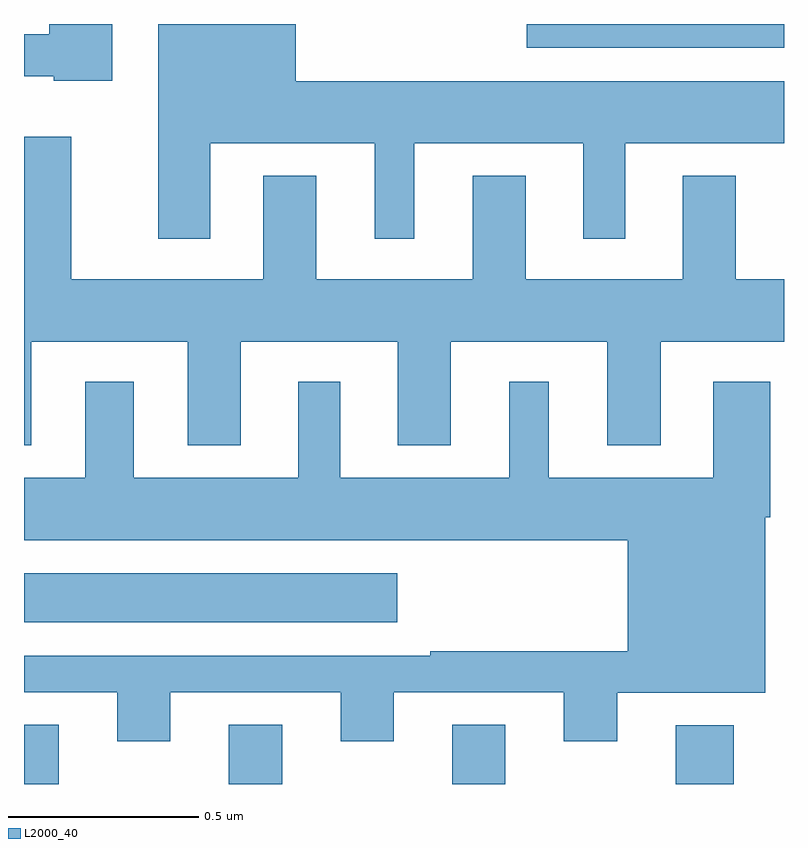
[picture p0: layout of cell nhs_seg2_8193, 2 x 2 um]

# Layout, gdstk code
import gdstk
lib = gdstk.Library(unit=1e-6, precision=1e-09)
def R(c, l, rs):  # rectangles x0, y0, x1, y1
    for r in rs: c.add(gdstk.rectangle(r[:2], r[2:], *l))
def P(c, l, *ps):  # polygons
    for p in ps: c.add(gdstk.Polygon(p, *l))
L2000_40 = (2000, 40)

nhs_seg2_8193 = lib.new_cell('nhs_seg2_8193')
R(nhs_seg2_8193, L2000_40, [(213,651.8,213.091,651.956), (213.539,651.8,213.679,651.956), (214.127,651.8,214.267,651.956), (214.715,651.8,214.868,651.955), (213,652.226,213.982,652.354), (214.323,653.738,215,653.8)])
P(nhs_seg2_8193, L2000_40, [(213.232,653.8),(213.067,653.8),(213.067,653.773),(213,653.773),(213,653.663),(213.078,653.663),(213.078,653.651),(213.232,653.651)],
  [(213.49,653.486),(213.923,653.486),(213.923,653.235),(214.027,653.235),(214.027,653.486),(214.472,653.486),(214.472,653.235),(214.582,653.235),(214.582,653.486),(215,653.486),(215,653.65),(213.715,653.65),(213.715,653.8),(213.353,653.8),(213.353,653.235),(213.49,653.235)],
  [(214.321,653.401),(214.181,653.401),(214.181,653.128),(213.769,653.128),(213.769,653.401),(213.629,653.401),(213.629,653.128),(213.124,653.128),(213.124,653.503),(213,653.503),(213,652.691),(213.019,652.691),(213.019,652.964),(213.431,652.964),(213.431,652.691),(213.571,652.691),(213.571,652.964),(213.983,652.964),(213.983,652.691),(214.123,652.691),(214.123,652.964),(214.535,652.964),(214.535,652.691),(214.675,652.691),(214.675,652.964),(215,652.964),(215,653.128),(214.873,653.128),(214.873,653.401),(214.733,653.401),(214.733,653.128),(214.321,653.128)],
  [(213.385,652.041),(213.833,652.041),(213.833,651.912),(213.973,651.912),(213.973,652.041),(214.421,652.041),(214.421,651.912),(214.561,651.912),(214.561,652.04),(214.951,652.04),(214.951,652.502),(214.964,652.502),(214.964,652.858),(214.814,652.858),(214.814,652.606),(214.381,652.606),(214.381,652.858),(214.277,652.858),(214.277,652.606),(213.832,652.606),(213.832,652.858),(213.722,652.858),(213.722,652.606),(213.289,652.606),(213.289,652.858),(213.161,652.858),(213.161,652.606),(213,652.606),(213,652.442),(214.589,652.442),(214.589,652.15),(214.069,652.15),(214.069,652.137),(213,652.137),(213,652.041),(213.245,652.041),(213.245,651.912),(213.385,651.912)])

lib.write_gds('nhs_seg2_8193.gds')
